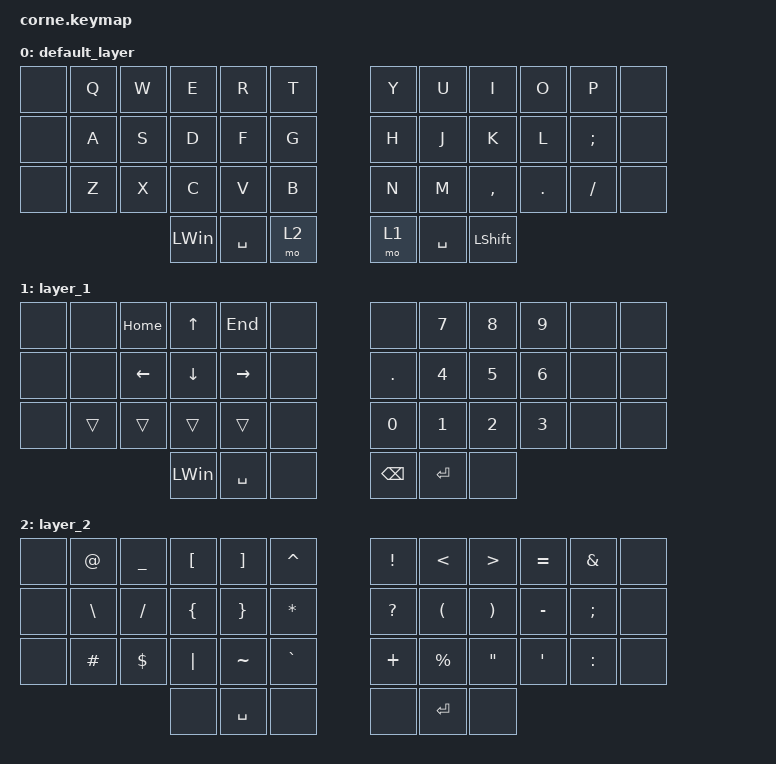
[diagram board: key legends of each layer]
/*
 * Copyright (c) 2020 The ZMK Contributors
 *
 * SPDX-License-Identifier: MIT
 */

#include <behaviors.dtsi>
#include <dt-bindings/zmk/keys.h>
#include <dt-bindings/zmk/bt.h>

/ {
        keymap {
                compatible = "zmk,keymap";

                default_layer {
// -----------------------------------------------------------------------------------------
// |  Q  |  W  |  E  |  R  |  T  |   |  Y  |  U   |  I  |  O  |  P  |
// |  A  |  S  |  D  |  F  |  G  |   |  H  |  J   |  K  |  L  |  ;  |
// |  Z  |  X  |  C  |  V  |  B  |   |  N  |  M   |  ,  |  .  |  /  |
//               | SUPER | SPC | L2 |   | L1  | ENT  | SHIFT |
                        bindings = <
   &none &kp Q &kp W &kp E &kp R &kp T   &kp Y &kp U  &kp I     &kp O   &kp P &none
   &none &kp A &kp S &kp D &kp F &kp G   &kp H &kp J  &kp K     &kp L   &kp SEMI &none
   &none &kp Z &kp X &kp C &kp V &kp B   &kp N &kp M  &kp COMMA &kp DOT &kp FSLH &none
                  &kp LWIN &kp SPACE &mo 2   &mo 1 &kp SPACE &kp LSHIFT
                        >;
                };
                layer_1 { // l1, numpad and nav
// -----------------------------------------------------------------------------------------
// |     | HME | UP  | END |     |   |     |  7  |  8  |  9  |     |
// |     | LFT | DWN | RGT |     |   |  .  |  4  |  5  |  6  |     |
// |     |     |     |     |     |   |  0  |  1  |  2  |  3  |     |
//                   | SUPER |  SPC   |  | | BACKSPACE  | ENT |     |
                        bindings = <
   &none &none   &kp HOME  &kp UP    &kp END      &none     &none    &kp N7  &kp N8 &kp N9  &none &none
   &none &none   &kp LEFT  &kp DOWN  &kp RIGHT    &none     &kp DOT  &kp N4  &kp N5 &kp N6  &none &none
   &none &trans  &trans    &trans    &trans       &none     &kp N0   &kp N1  &kp N2 &kp N3  &none &none
                           &kp LWIN       &kp SPACE    &none         &kp BSPC    &kp RET &none
                        >;
                };

                layer_2 { // l2, programming symbols
// -----------------------------------------------------------------------------------------
// |  @  |  _  |  [  |  ]  |  ^  |   |  !  |  <  |  >  |  =  |  &  |
// |  \  |  /  |  {  |  }  |  *  |   |  ?  |  (  |  )  |  -  |  ;  |
// |  #  |  $  | '|' |  ~  |  `  |   |  +  |  %  |  "  |  '  |  :  |
//                    |  |     |  |   |  |     |  |
                        bindings = <
  &none &kp AT    &kp UNDER &kp LBKT  &kp RBKT  &kp CARET   &kp EXCLAMATION  &kp LT    &kp GT   &kp EQUAL  &kp AMPS &none
  &none &kp BSLH  &kp FSLH  &kp LBRC  &kp RBRC  &kp ASTRK   &kp QMARK        &kp LPAR  &kp RPAR &kp MINUS  &kp SEMI &none
  &none &kp HASH  &kp DLLR  &kp PIPE  &kp TILDE &kp GRAVE   &kp PLUS         &kp PRCNT &kp DQT  &kp SQT    &kp COLON &none
                             &none &kp SPACE &none   &none   &kp RET    &none
                        >;
                };
        };
};
